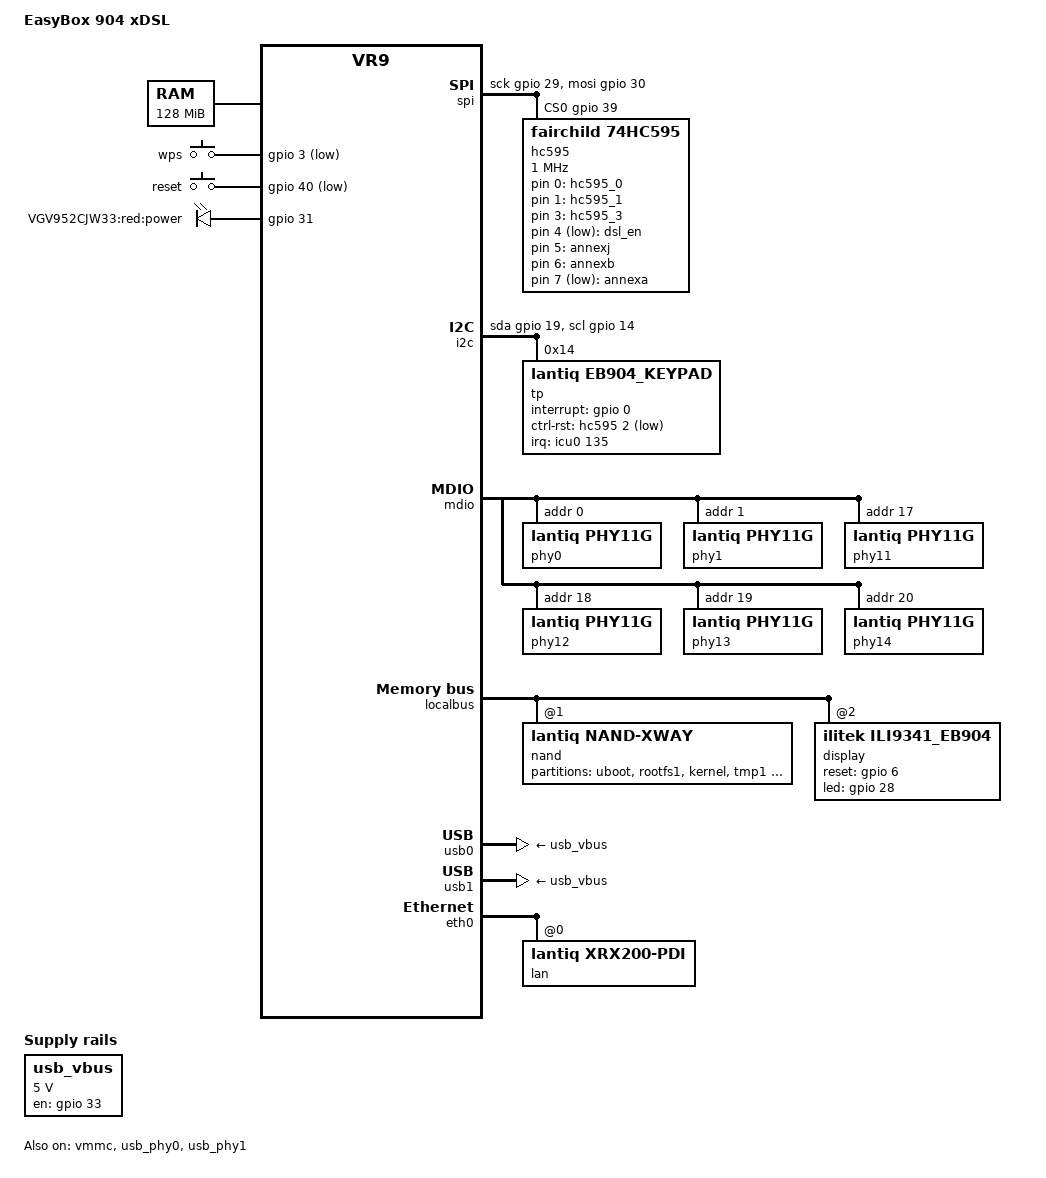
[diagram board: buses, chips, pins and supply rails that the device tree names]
/dts-v1/;

#include "vr9.dtsi"

#include <dt-bindings/input/input.h>
#include <dt-bindings/mips/lantiq_rcu_gphy.h>

/ {
	model = "EasyBox 904 xDSL";
	compatible = "lantiq,vgv952cjw33-e-ir", "lantiq,xway", "lantiq,vr9";

	chosen {
	    // No vpe, both cores used for linux:

		//Rootfs is in partition 'ubi' if present, volume 'rootfs' (1st search prio). Or in mtd partition called 'rootfs' (2nd prio).
		bootargs = "console=ttyLTQ0,115200";

		// Obsolete:
		// bootargs = "console=ttyLTQ0,115200 ubi.mtd=12,2048 panic=1 DTS-TEST-SEQNO=77 root=/dev/ubiblock0_0 rootdelay=7";


	    // With vpe, one core dedicated to phone audio signal processing

		// bootargs = "console=ttyLTQ0,115200 mem=116M phym=128M vpe1_load_addr=0x87e00000 vpe1_mem=2M maxvpes=1 maxtcs=1 nosmp";

		// Bootargs to boot from sda1
		// bootargs = "console=ttyLTQ0,115200 root=/dev/sda1 rootdelay=7 rootfstype=f2fs mem=116M phym=128M vpe1_load_addr=0x87e00000 vpe1_mem=2M maxvpes=1 maxtcs=1 nosmp";

		// Obsolete:
		// bootargs = "console=ttyLTQ0,115200 ubi.mtd=12,2048 panic=1 DTS-TEST-SEQNO=77  root=/dev/ubiblock0_0 rootdelay=7 mem=116M phym=128M vpe1_load_addr=0x87e00000 vpe1_mem=2M maxvpes=1 maxtcs=1 nosmp";
		// Bootargs to boot from mtd12 ubifs
		// bootargs = "console=ttyLTQ0,115200 ubi.mtd=12,2048 panic=1 DTS-TEST-SEQNO=77  root=/dev/ubiblock0_0 rootdelay=7 mem=116M phym=128M vpe1_load_addr=0x87e00000 vpe1_mem=2M maxvpes=1 maxtcs=1 nosmp";
		// bootargs = "console=ttyLTQ0,115200 ubi.mtd=12,2048 panic=1 DTS-TEST-SEQNO=77 root=/dev/ubiblock0_0 rootdelay=7 mem=116M phym=128M vpe1_load_addr=0x87e00000 vpe1_mem=2M maxvpes=1 maxtcs=1 nosmp";
		// bootargs = "console=ttyLTQ0,115200 mem=116M phym=128M vpe1_load_addr=0x87e00000 vpe1_mem=2M maxvpes=1 maxtcs=1 nosmp";
		// Bootargs to boot from sda1
		// bootargs = "console=ttyLTQ0,115200 panic=1 DTS-TEST-SEQNO=77 root=/dev/sda1 rootdelay=7 rootfstype=f2fs mem=116M phym=128M vpe1_load_addr=0x87e00000 vpe1_mem=2M maxvpes=1 maxtcs=1 nosmp";
	};

	memory@0 {
		reg = <0x0 0x8000000>;
	};

	gpio-keys-polled {
		compatible = "gpio-keys-polled";
		#address-cells = <1>;
		#size-cells = <0>;
		poll-interval = <100>;
		rfkill {
			label = "wps";
			gpios = <&gpio 3 GPIO_ACTIVE_LOW>;
			linux,code = <KEY_WPS_BUTTON>;
		};
		reset {
			label = "reset";
			gpios = <&gpio 40 GPIO_ACTIVE_LOW>;
			linux,code = <KEY_RESTART>;
		};
	};

	usb_vbus: regulator-usb-vbus {
		compatible = "regulator-fixed";

		regulator-name = "USB_VBUS";

		regulator-min-microvolt = <5000000>;
		regulator-max-microvolt = <5000000>;

		gpio = <&gpio 33 GPIO_ACTIVE_HIGH>;
		enable-active-high;
	};

	gpio-leds {
		compatible = "gpio-leds";

		power_green: power {
		label = "VGV952CJW33:red:power";
		gpios = <&gpio 31 GPIO_ACTIVE_HIGH>;
		default-state = "keep";
		};
	};

	spi {
		compatible = "spi-gpio";
		address-cells = <1>;
		size-cells = <0>;

		gpio-sck = <&gpio 29 GPIO_ACTIVE_HIGH >;
		gpio-mosi = <&gpio 30 GPIO_ACTIVE_HIGH >;
		num-chipselects = <1>;
		cs-gpios = <&gpio 39 GPIO_ACTIVE_HIGH >;

		hc595: gpio_spi@0 {
			compatible = "fairchild,74hc595";
			reg = <0>;
			registers-number = <1>;
			spi-max-frequency = <1000000>;
			spi-cpol = <0>;
			spi-cpha = <0>;
			gpio-controller;
			#gpio-cells = <2>;
		};
	};

	gpio_export {
		compatible = "gpio-export";
		#size-cells = <0>;

		out_0 { /*Unknown*/
			gpio-export,name = "hc595_0";
			gpio-export,output = <1>;
			gpios = <&hc595 0 GPIO_ACTIVE_HIGH>;
		};
		out_1 {/*Unknown*/
			gpio-export,name = "hc595_1";
			gpio-export,output = <1>;
			gpios = <&hc595 1 GPIO_ACTIVE_HIGH>;
		};

		// out_2 is used to reset touch IC and owned by eb904_keypad

		out_3 {/*Unknown*/
			gpio-export,name = "hc595_3";
			gpio-export,output = <1>;
			gpios = <&hc595 3 GPIO_ACTIVE_HIGH>;
		};
		out_dsl_eth { /* Switches DSL line + 100MiB eth or 1GiB ethernet on DSL/WAN input. Relay 1.*/
			gpio-export,name = "dsl_en";
			gpio-export,output = <1>;
			gpios = <&hc595 4 GPIO_ACTIVE_LOW>;
		};
		out_5 { /* Switches filter for DSL line On/Off. Relays 2 and 3 simultaneously.*/
			gpio-export,name = "annexj";
			gpio-export,output = <1>;
			gpios = <&hc595 5 GPIO_ACTIVE_HIGH>;
		};
		out_6 { /* Switch DSL line betwean ISDN modem and Si3050. Relay 5.*/
			gpio-export,name = "annexb";
			gpio-export,output = <1>;
			gpios = <&hc595 6 GPIO_ACTIVE_HIGH>;
		};
		out_7 { /* Switch phone outputs N and F betwean analog DSL line and XS1 output from Lantiq SLIC. Relay 4.*/
			gpio-export,name = "annexa";
			gpio-export,output = <1>;
			gpios = <&hc595 7 GPIO_ACTIVE_LOW>;
		};
	};

	i2c {
		compatible = "i2c-gpio";
		#address-cells = <1>;
		#size-cells = <0>;
		gpios = <&gpio 19 GPIO_ACTIVE_HIGH /* sda */
			&gpio 14 GPIO_ACTIVE_HIGH /* scl */
		>;
		//i2c-gpio,sda-open-drain;
		//i2c-gpio,scl-open-drain;
		i2c-gpio,delay-us = <5>;
		/* Add touch panel Support */
		tp: eb904tp@0x14 {
			compatible = "lantiq,eb904_keypad";
			reg = <0x14>;
			interrupt-parent = <&icu0>;
			interrupts = <135>;
			eb904,interrupt-gpio = <&gpio  0 GPIO_ACTIVE_HIGH /* EXIN */>;
			eb904,ctrl-rst-gpio = <&hc595 2 GPIO_ACTIVE_LOW /* rst */>;
			eb904,alphas = /bits/ 8
				 <0x07 /* left */
				  0x0a /* down */
				  0x0a /* right */
				  0x0a /* ok */
				  0x07 /* up */
			>;
			keypad,num-rows = <3>;
			keypad,num-columns = <3>;
			linux,keymap = <
				    MATRIX_KEY(0x0, 0x1, KEY_UP)         /* ROW0, COL1 */
				    MATRIX_KEY(0x1, 0x0, KEY_LEFT)       /* ROW1, COL0 */
				    MATRIX_KEY(0x1, 0x1, KEY_ENTER)      /* ROW1, COL1 */
				    MATRIX_KEY(0x1, 0x2, KEY_RIGHT)      /* ROW1, COL2 */
				    MATRIX_KEY(0x2, 0x1, KEY_DOWN)       /* ROW2, COL1 */
				    >;
		};
	};

	mdio: mdio {
		compatible = "lantiq,xrx200-mdio";
		#address-cells = <1>;
		#size-cells = <0>;
		phy0: ethernet-phy@0 {
			reg = <0x0>;
			compatible = "lantiq,phy11g", "ethernet-phy-ieee802.3-c22";
		};
		phy1: ethernet-phy@1 {
			reg = <0x1>;
			compatible = "lantiq,phy11g", "ethernet-phy-ieee802.3-c22";
		};
		/*
		phy5: ethernet-phy@5 {
			reg = <0x5>;
		};
		*/
		phy11: ethernet-phy@11 {
			reg = <0x11>;
			compatible = "lantiq,phy11g", "ethernet-phy-ieee802.3-c22";
		};
		phy12: ethernet-phy@12 {
			reg = <0x12>;
			compatible = "lantiq,phy11g", "ethernet-phy-ieee802.3-c22";
		};
		phy13: ethernet-phy@13 {
			reg = <0x13>;
			compatible = "lantiq,phy11g", "ethernet-phy-ieee802.3-c22";
		};
		phy14: ethernet-phy@14 {
			reg = <0x14>;
			compatible = "lantiq,phy11g", "ethernet-phy-ieee802.3-c22";
		};
	};

	rtl8367b {
		compatible = "realtek,rtl8367b";
		//gpio-sda = <&gpio0 1 0>;
		//gpio-sck = <&gpio0 2 0>;
		//cpu_port = <7>;
		//realtek,extif0 = <1 0 1 1 1 1 1 1 2>; // default found on other profiles
		realtek,extif1   = <1 0 1 1 0 0 1 1 2>; // based on vendor uboot-config
		mii-bus = <&mdio>;
	};
};

&vmmc {
	status = "okay";
	gpios = <&gpio 37 GPIO_ACTIVE_HIGH>; //reset_slic!
};

&localbus {
    //	#address-cells = <2>;					// Just for info. From vr9.dtsi
    //	#size-cells = <1>;
    //	ranges = <0 0 0x0       0x3ffffff			// addrsel0	0x3ffffff and 0x4000010 in vr9.dtsi seem to be wrong, because these are size
    //    	  1 0 0x4000000 0x4000010>;			// addrsel1	parameters. Not really a problem; the drivers we have use their own hardcoded values

	ranges = <0 0 0x0       0x2000000			// addrsel0	Was set up this way by arcadian eb904 U-Boot for nand. Not used by eb904 linux
		  1 0 0x2000000 0x1000000			// addrsel1	Size 0x1000000 hardcoded in xway_nand.c. Excessive, as first 0x80 is used only
		  2 0 0x3000000 0x0000800>;			// addrsel2	Size 0x800 hardcoded in display driver. This is the min size supported by ebu

	nand@1 {						// @1 because using ebu BUSCON1/ADDSEL1
		compatible = "lantiq,nand-xway";
		reg = <1 0x0 0x80>;				// Only adresses 0x0..0x7F needed (but driver ignores size 0x80 and tells ebu to map 0x1000000)

	    //	bank-width = <2>;				// Not used by any driver code
		#address-cells = <1>;
		#size-cells = <1>;
		lantiq,cs = <1>;				// Seems to be needed (EASY80920NAND.dts)

		nand-on-flash-bbt;

		partitions {
		compatible = "fixed-partitions";
			#address-cells = <1>;
			#size-cells = <1>;

			partition@0 {
				label = "uboot";
				reg = <0x0 0x40000>;
			};

			partition@40000 {
				label = "rootfs1";		// Called "rootfs" in original u-boot env.
				reg = <0x40000 0x3C00000>;	// Auto mounted as rootfs if no UBI volume named "rootfs" exists
			};

			partition@3C40000 {
				label = "kernel";		// Called "kernel" in original u-boot env.
				reg = <0x3C40000 0x500000>;
			};

			partition@4140000 {
				label = "tmp1";
				reg = <0x4140000 0x100000>;
			};

			partition@4240000 {
				label = "tmp2";
				reg = <0x4240000 0x200000>;
			};

			partition@4440000 {
				label = "sysconfig";
				reg = <0x4440000 0x100000>;
			};

			partition@4540000 {
				label = "ubootconfig";
				reg = <0x4540000 0x100000>;
			};

			partition@4640000 {
				label = "fwdiag";
				reg = <0x4640000 0xC0000>;
			};

			partition@4700000 {
				label = "lcdimage";
				reg = <0x4700000 0x300000>;
			};

			partition@4A00000 {
				label = "mfgconfig";
				reg = <0x4A00000 0x100000>;
			};

			partition@4B00000 {
				label = "sipdata";
				reg = <0x4B00000 0x100000>;
			};

			partition@4C00000 {
				label = "voice";
				reg = <0x4C00000 0x4000000>;
			};

			partition@8C00000 {			// Called "misc" in original u-boot env.
				label = "ubi";			// Rename to "ubi" for auto ubi attachment and usage of rootfs, rootfs_data, kernel volumes
				reg = <0x8C00000 0x13200000>;	// Rename to "firmware" for special squashfs-rootfs/jffs2-rootfs_data treatment
			};

			partition@1BE00000 {
				label = "rootfs2";
				reg = <0x1BE00000 0x3c00000>;
			};

			partition@1FA00000 {
				label = "kernel2";
				reg = <0x1FA00000 0x500000>;
			};

			partition@1FF00000 {
				label = "mystery";		// Missing in original u-boot environment, seems to be empty (erased)
				reg = <0x1FF00000 0x100000>;
			};
		};
	};

	display@2 {						// @2 because using ebu BUSCON2/ADDSEL2. Name not 'easybox904-display',
		compatible = "ilitek,ili9341_eb904";		// see 'Node Names' at https://elinux.org/Device_Tree_Usage
		reg = <2 0x0 0x4>;				// Size 0x4 contains 2 byte data and 2 byte command registers
		status = "okay";
		rotate = <270>;
		fps = <30>;
		bgr;
		buswidth = <8>;
		reset-gpios = <&gpio 6 GPIO_ACTIVE_HIGH>;
		led-gpios = <&gpio 28 GPIO_ACTIVE_HIGH>;
		debug = <1>;
	};
};

/*
*  Following is the very experimental part which is broken and requires much more elaboration
*/

// From FRITZ3370.dts
&gpio {
	pinctrl-names = "default";
	pinctrl-0 = <&state_default>;

	state_default: pinmux {
		mdio {
			lantiq,groups = "mdio";
			lantiq,function = "mdio";
		};

		phy-rst {	// I have no idea wether this makes sense
			lantiq,pins = "io37", "io44";			// FRITZ3370.dts
		  //	lantiq,pins = "io42";				// TDW8970.dts
			lantiq,pull = <0>;
			lantiq,open-drain = <0>;
			lantiq,output = <1>;
						};

		pcie-rst {
			lantiq,pins = "io38";				// FRITZ3370.dts, TDW8970.dts, EASY80920.dtsi, P2812HNUFX.dtsi
		   //	lantiq,pins = "io21";				// ARV7519RW22.dts
			lantiq,pull = <0>;
			lantiq,output = <1>;
		};

		exin1 {
			lantiq,groups = "exin1";
			lantiq,function = "exin";
		};

		conf_tp {
			lantiq,pins = "io1"; /* exin1 */
			lantiq,open-drain;
			lantiq,pull = <0>;
		};
		conf_spi {
			lantiq,pins = "io29", "io30", "io39"; /* gpiois for spi */
			lantiq,pull = <2>; /*Pull Up*/
		};
	};
};

&usb_phy0 {
	status = "okay";
};

&usb_phy1 {
	status = "okay";
};

&usb0 {
	status = "okay";
	vbus-supply = <&usb_vbus>;
};

&usb1 {
	status = "okay";
	vbus-supply = <&usb_vbus>;
};

&eth0 {
	lan: interface@0 {
		compatible = "lantiq,xrx200-pdi";
		#address-cells = <1>;
		#size-cells = <0>;
		reg = <0>;
		mac-address = [ 00 11 22 33 44 55 ];
		lantiq,switch;
		ethernet@2 {
			compatible = "lantiq,xrx200-pdi-port";
			reg = <2>;
			phy-mode = "gmii";
			// phy-handle = <&phy11>;
			fixed-link {
				speed = <1000>;
				full-duplex;
			};
		};
		/* wan port */
		ethernet@4 {
			compatible = "lantiq,xrx200-pdi-port";
			reg = <4>;
			phy-mode = "gmii";
			phy-handle = <&phy13>;
		};
		/* rt3883 soc */
		/*
		ethernet@5 {
			compatible = "lantiq,xrx200-pdi-port";
			reg = <5>;
			phy-mode = "rgmii";
			phy-handle = <&phy5>;
		};
		*/
	};
};

&pci0 {
	status = "disabled";
	//gpio-reset = <&gpio 21 GPIO_ACTIVE_HIGH>;
};

&pcie0 {
	pcie@0 {
		reg = <0 0 0 0 0>;
		#interrupt-cells = <1>;
		#size-cells = <2>;
		#address-cells = <3>;
		device_type = "pci";
	};
};



